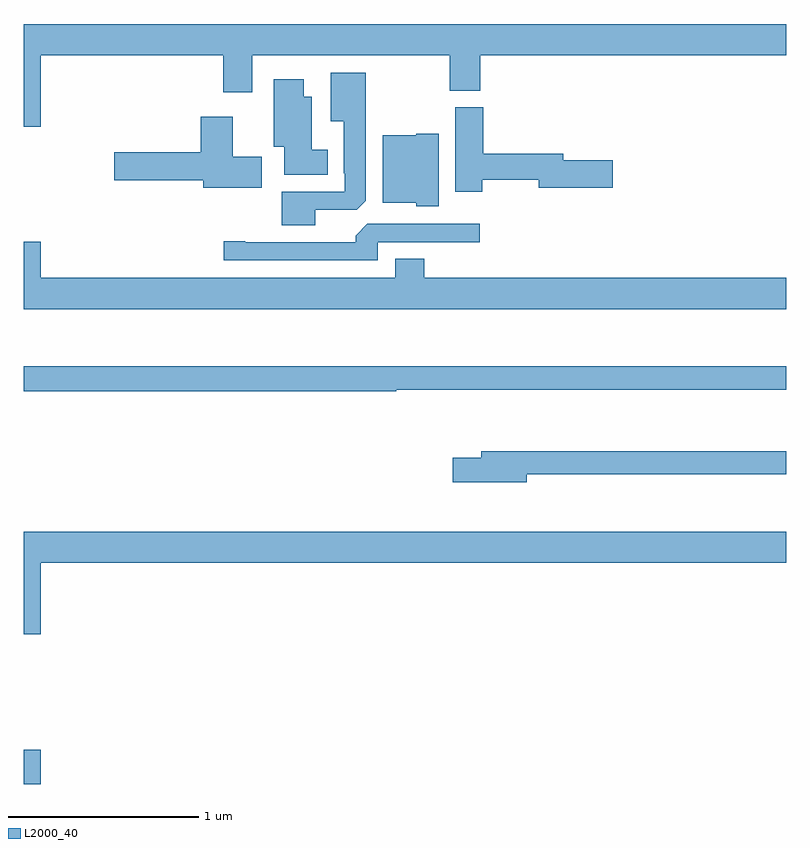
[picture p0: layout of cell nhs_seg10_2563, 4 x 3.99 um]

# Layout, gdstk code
import gdstk
lib = gdstk.Library(unit=1e-6, precision=1e-09)
def R(c, l, rs):  # rectangles x0, y0, x1, y1
    for r in rs: c.add(gdstk.rectangle(r[:2], r[2:], *l))
def P(c, l, *ps):  # polygons
    for p in ps: c.add(gdstk.Polygon(p, *l))
L2000_40 = (2000, 40)

nhs_seg10_2563 = lib.new_cell('nhs_seg10_2563')
R(nhs_seg10_2563, L2000_40, [(249,1288.5,249.088,1288.681)])
P(nhs_seg10_2563, L2000_40, [(249,1291.95),(249.088,1291.95),(249.088,1292.324),(250.046,1292.324),(250.046,1292.13),(250.198,1292.13),(250.198,1292.324),(251.236,1292.324),(251.236,1292.137),(251.396,1292.137),(251.396,1292.324),(253,1292.324),(253,1292.488),(249,1292.488)],
  [(250.528,1291.512),(250.746,1291.512),(250.795,1291.561),(250.795,1292.233),(250.61,1292.233),(250.61,1291.979),(250.679,1291.979),(250.679,1291.705),(250.683,1291.705),(250.683,1291.608),(250.352,1291.608),(250.352,1291.433),(250.528,1291.433)],
  [(250.594,1291.828),(250.51,1291.828),(250.51,1292.107),(250.468,1292.107),(250.468,1292.197),(250.31,1292.197),(250.31,1291.844),(250.367,1291.844),(250.367,1291.697),(250.594,1291.697)],
  [(251.406,1291.672),(251.702,1291.672),(251.702,1291.63),(252.091,1291.63),(252.091,1291.772),(251.83,1291.772),(251.83,1291.808),(251.411,1291.808),(251.411,1292.052),(251.264,1292.052),(251.264,1291.608),(251.406,1291.608)],
  [(250.249,1291.791),(250.096,1291.791),(250.096,1292.002),(249.929,1292.002),(249.929,1291.814),(249.474,1291.814),(249.474,1291.667),(249.941,1291.667),(249.941,1291.628),(250.249,1291.628)],
  [(251.176,1291.912),(251.058,1291.912),(251.058,1291.903),(250.883,1291.903),(250.883,1291.55),(251.058,1291.55),(251.058,1291.532),(251.176,1291.532)],
  [(250.857,1291.344),(251.392,1291.344),(251.392,1291.44),(250.803,1291.44),(250.742,1291.378),(250.742,1291.344),(250.162,1291.344),(250.162,1291.349),(250.05,1291.349),(250.05,1291.248),(250.857,1291.248)],
  [(253,1291.156),(251.102,1291.156),(251.102,1291.255),(250.949,1291.255),(250.949,1291.156),(249.088,1291.156),(249.088,1291.345),(249,1291.345),(249,1290.992),(253,1290.992)],
  [(250.955,1290.57),(253,1290.57),(253,1290.691),(249,1290.691),(249,1290.562),(250.955,1290.562)],
  [(251.638,1290.126),(253,1290.126),(253,1290.247),(251.399,1290.247),(251.399,1290.213),(251.25,1290.213),(251.25,1290.083),(251.638,1290.083)],
  [(249.088,1289.66),(253,1289.66),(253,1289.824),(249,1289.824),(249,1289.286),(249.088,1289.286)])

lib.write_gds('nhs_seg10_2563.gds')
